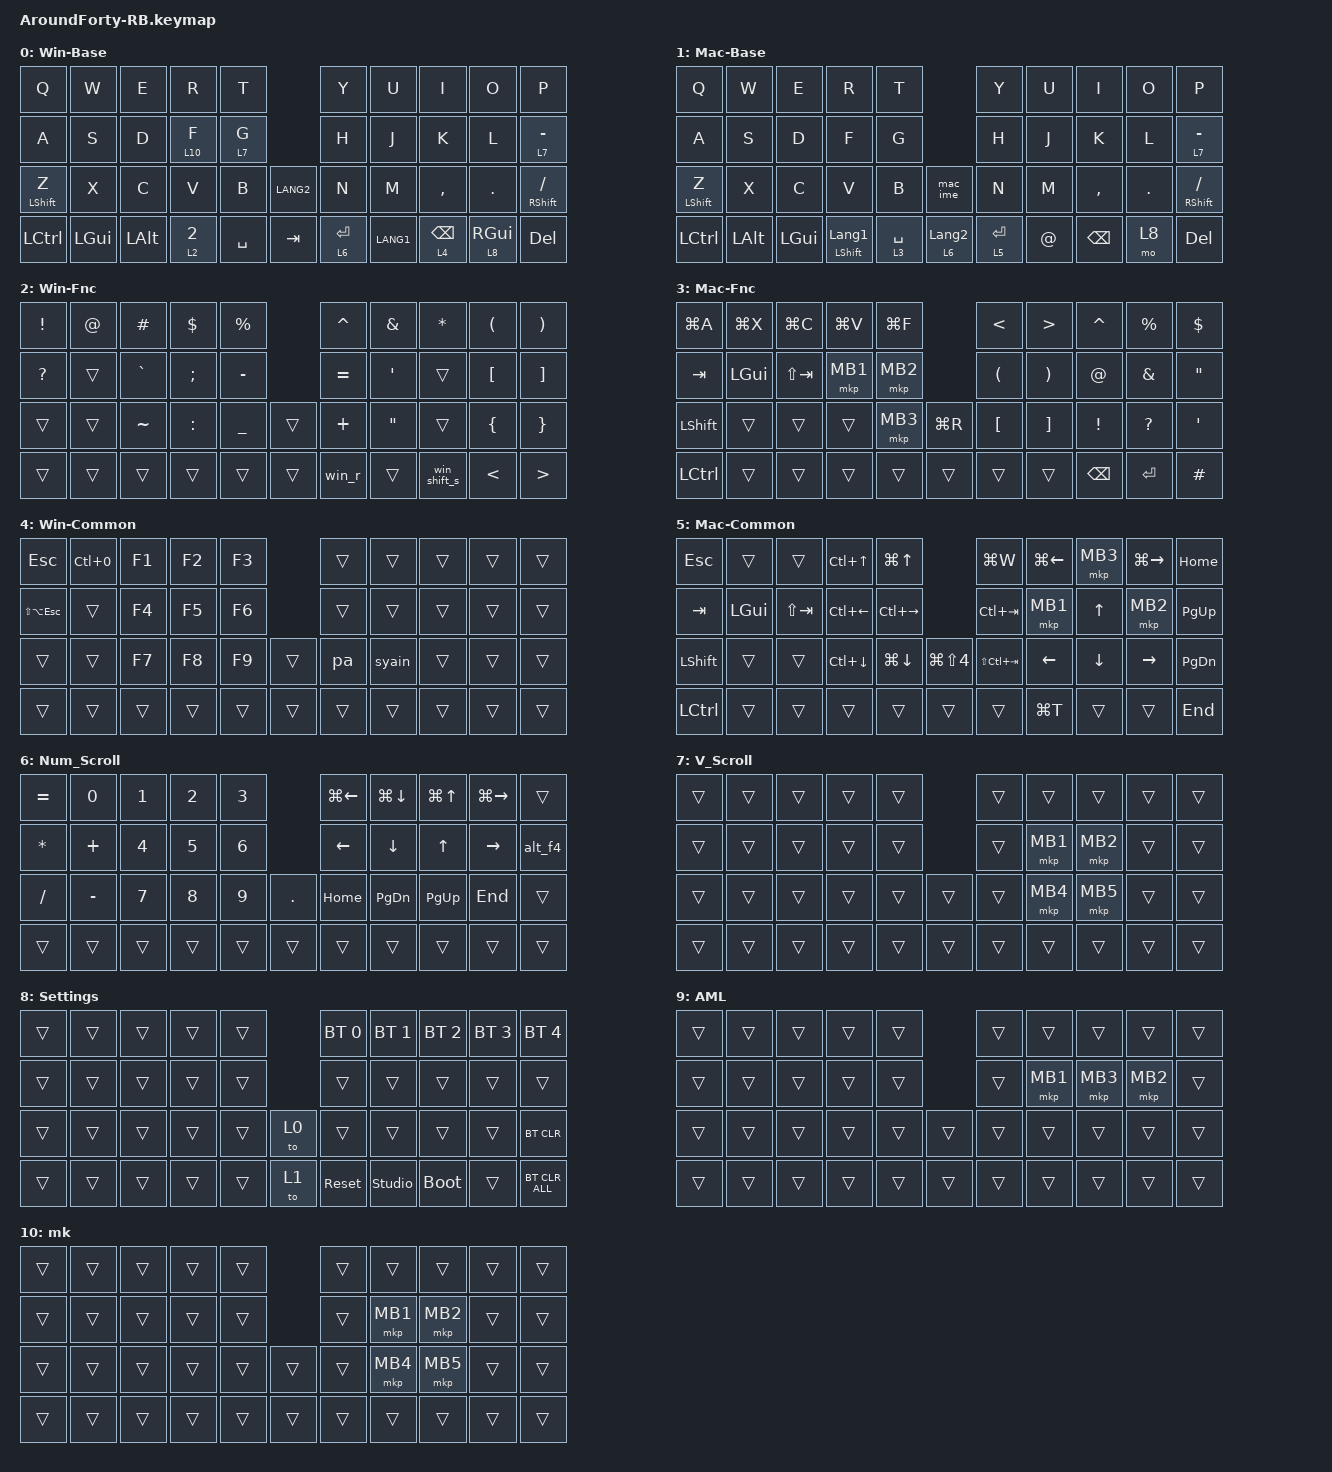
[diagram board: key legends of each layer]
#include <behaviors/rgbled_widget.dtsi>
#include <behaviors.dtsi>
#include <dt-bindings/zmk/bt.h>
#include <dt-bindings/zmk/keys.h>
#include <dt-bindings/zmk/pointing.h>

&mt {
    flavor = "balanced";
    quick-tap-ms = <0>;
};

/ {
    combos {
        compatible = "zmk,combos";

        Escape {
            bindings = <&kp ESCAPE>;
            key-positions = <0 1>;
        };
    };

    macros {
        to_layer_0: to_layer_0 {
            compatible = "zmk,behavior-macro-one-param";
            #binding-cells = <1>;
            bindings = <&to 0 &macro_param_1to1 &kp MACRO_PLACEHOLDER>;
            label = "TO_LAYER_0";
        };

        // Windows用入力切り替え：Alt + Grave (~)

        ime_tog: ime_toggle {
            compatible = "zmk,behavior-macro";
            #binding-cells = <0>;
            bindings =
                <&macro_press>,
                <&kp LALT>,
                <&macro_tap>,
                <&kp GRAVE>,
                <&macro_release>,
                <&kp LALT>;
        };

        // macOS用入力切り替え：Ctrl + Space

        mac_ime: mac_ime_toggle {
            compatible = "zmk,behavior-macro";
            #binding-cells = <0>;
            bindings =
                <&macro_press>,
                <&kp LCTRL>,
                <&macro_tap>,
                <&kp SPACE>,
                <&macro_release>,
                <&kp LCTRL>;
        };

        win_r: win_r {
            compatible = "zmk,behavior-macro";
            #binding-cells = <0>;
            bindings =
                <&macro_press>,
                <&kp LEFT_WIN>,
                <&macro_tap>,
                <&kp R>,
                <&macro_release>,
                <&kp LEFT_WIN>;

            label = "WIN_R";
        };

        win_shift_s: win_shift_s {
            compatible = "zmk,behavior-macro";
            #binding-cells = <0>;
            bindings =
                <&macro_press>,
                <&kp LEFT_WIN &kp LEFT_SHIFT>,
                <&macro_tap>,
                <&kp S>,
                <&macro_release>,
                <&kp LEFT_SHIFT &kp LEFT_WIN>;

            label = "WIN_SHIFT_S";
        };

        alt_f4: alt_f4 {
            compatible = "zmk,behavior-macro";
            #binding-cells = <0>;
            bindings =
                <&macro_press>,
                <&kp LEFT_ALT>,
                <&macro_tap>,
                <&kp F4>,
                <&macro_release>,
                <&kp LEFT_ALT>;

            label = "ALT_F4";
        };

        pa: pa {
            compatible = "zmk,behavior-macro";
            #binding-cells = <0>;
            bindings = <&kp LS(P) &kp LS(A) &kp N6 &kp N0 &kp N4 &kp N2 &kp N6 &kp N1>;
            label = "PA";
        };

        syain: syain {
            compatible = "zmk,behavior-macro";
            #binding-cells = <0>;
            bindings = <&kp N0 &kp N1 &kp N1 &kp N4 &kp N3 &kp N7 &kp N8 &kp N0>;
            label = "SYAIN";
        };
    };

    behaviors {
        lt_to_layer_0: lt_to_layer_0 {
            compatible = "zmk,behavior-hold-tap";
            label = "LAYER_TAP_TO_0";
            bindings = <&mo>, <&to_layer_0>;

            #binding-cells = <2>;
            tapping-term-ms = <200>;
        };

        // 

        scroll_up_down: behavior_sensor_rotate_mouse_wheel_up_down {
            compatible = "zmk,behavior-sensor-rotate";
            #sensor-binding-cells = <0>;
            bindings = <&msc SCRL_UP>, <&msc SCRL_DOWN>;

            tap-ms = <20>;
        };
    };

    keymap {
        compatible = "zmk,keymap";

        Win-Base {
            display-name = "Win-Base";
            bindings = <
&kp Q             &kp W     &kp E     &kp R           &kp T                 &kp Y        &kp U      &kp I            &kp O            &kp P
&kp A             &kp S     &kp D     &lt 10 F        &lt 7 G               &kp H        &kp J      &kp K            &kp L            &lt 7 MINUS
&mt LEFT_SHIFT Z  &kp X     &kp C     &kp V           &kp B      &kp LANG2  &kp N        &kp M      &kp COMMA        &kp DOT          &mt RIGHT_SHIFT SLASH
&kp LCTRL         &kp LGUI  &kp LALT  &lt 2 NUMBER_2  &kp SPACE  &kp TAB    &lt 6 ENTER  &kp LANG1  &lt 4 BACKSPACE  &lt 8 RIGHT_GUI  &kp DEL
            >;
        };

        Mac-Base {
            display-name = "Mac-Base";
            bindings = <
&kp Q             &kp W         &kp E         &kp R                 &kp T                          &kp Y        &kp U        &kp I          &kp O    &kp P
&kp A             &kp S         &kp D         &kp F                 &kp G                          &kp H        &kp J        &kp K          &kp L    &lt 7 MINUS
&mt LEFT_SHIFT Z  &kp X         &kp C         &kp V                 &kp B        &mac_ime          &kp N        &kp M        &kp COMMA      &kp DOT  &mt RIGHT_SHIFT SLASH
&kp LCTRL         &kp LEFT_ALT  &kp LEFT_GUI  &mt LSHFT LANGUAGE_1  &lt 3 SPACE  &lt 6 LANGUAGE_2  &lt 5 ENTER  &kp AT_SIGN  &kp BACKSPACE  &mo 8    &kp DEL
            >;
        };

        Win-Fnc {
            display-name = "Win-Fnc";
            bindings = <
&kp EXCLAMATION  &kp AT_SIGN  &kp HASH   &kp DOLLAR     &kp PERCENT             &kp CARET  &kp AMPERSAND      &kp ASTERISK  &kp LEFT_PARENTHESIS  &kp RIGHT_PARENTHESIS
&kp QUESTION     &trans       &kp GRAVE  &kp SEMICOLON  &kp MINUS               &kp EQUAL  &kp SINGLE_QUOTE   &trans        &kp LEFT_BRACKET      &kp RIGHT_BRACKET
&trans           &trans       &kp TILDE  &kp COLON      &kp UNDERSCORE  &trans  &kp PLUS   &kp DOUBLE_QUOTES  &trans        &kp LEFT_BRACE        &kp RIGHT_BRACE
&trans           &trans       &trans     &trans         &trans          &trans  &win_r     &trans             &win_shift_s  &kp LESS_THAN         &kp GREATER_THAN
            >;
        };

        Mac-Fnc {
            display-name = "Mac-Fnc";
            bindings = <
&kp LG(A)       &kp LG(X)     &kp LG(C)    &kp LG(V)  &kp LG(F)             &kp LESS_THAN         &kp GREATER_THAN       &kp CARET        &kp PERCENT    &kp DOLLAR
&kp TAB         &kp LEFT_GUI  &kp LS(TAB)  &mkp MB1   &mkp MB2              &kp LEFT_PARENTHESIS  &kp RIGHT_PARENTHESIS  &kp AT_SIGN      &kp AMPERSAND  &kp DOUBLE_QUOTES
&kp LEFT_SHIFT  &trans        &trans       &trans     &mkp MB3   &kp LG(R)  &kp LEFT_BRACKET      &kp RIGHT_BRACKET      &kp EXCLAMATION  &kp QUESTION   &kp SINGLE_QUOTE
&kp LCTRL       &trans        &trans       &trans     &trans     &trans     &trans                &trans                 &kp BACKSPACE    &kp ENTER      &kp HASH
            >;
        };

        Win-Common {
            display-name = "Win-Common";
            bindings = <
&kp ESC             &kp LC(NUMBER_0)  &kp F1  &kp F2  &kp F3          &trans  &trans  &trans  &trans  &trans
&kp LS(LA(ESCAPE))  &trans            &kp F4  &kp F5  &kp F6          &trans  &trans  &trans  &trans  &trans
&trans              &trans            &kp F7  &kp F8  &kp F9  &trans  &pa     &syain  &trans  &trans  &trans
&trans              &trans            &trans  &trans  &trans  &trans  &trans  &trans  &trans  &trans  &trans
            >;
        };

        Mac-Common {
            display-name = "Mac-Common";
            bindings = <
&kp ESC    &trans        &trans       &kp LC(UP_ARROW)    &kp LG(UP_ARROW)                           &kp LG(W)        &kp LG(LEFT_ARROW)  &mkp MB3        &kp LG(RIGHT_ARROW)  &kp HOME
&kp TAB    &kp LEFT_GUI  &kp LS(TAB)  &kp LC(LEFT_ARROW)  &kp LC(RIGHT_ARROW)                        &kp LC(TAB)      &mkp MB1            &kp UP_ARROW    &mkp MB2             &kp PAGE_UP
&kp LSHFT  &trans        &trans       &kp LC(DOWN_ARROW)  &kp LG(DOWN_ARROW)   &kp LG(LS(NUMBER_4))  &kp LS(LC(TAB))  &kp LEFT_ARROW      &kp DOWN_ARROW  &kp RIGHT_ARROW      &kp PAGE_DOWN
&kp LCTRL  &trans        &trans       &trans              &trans               &trans                &trans           &kp LG(T)           &trans          &trans               &kp END
            >;
        };

        Num_Scroll {
            bindings = <
&kp EQUAL     &kp NUMBER_0  &kp NUMBER_1  &kp NUMBER_2  &kp NUMBER_3              &kp LG(LEFT)  &kp LG(DOWN)   &kp LG(UP)    &kp LG(RIGHT)  &trans
&kp ASTERISK  &kp PLUS      &kp NUMBER_4  &kp N5        &kp NUMBER_6              &kp LEFT      &kp DOWN       &kp UP_ARROW  &kp RIGHT      &alt_f4
&kp SLASH     &kp MINUS     &kp NUMBER_7  &kp NUMBER_8  &kp NUMBER_9  &kp PERIOD  &kp HOME      &kp PAGE_DOWN  &kp PAGE_UP   &kp END        &trans
&trans        &trans        &trans        &trans        &trans        &trans      &trans        &trans         &trans        &trans         &trans
            >;
        };

        V_Scroll {
            bindings = <
&trans  &trans  &trans  &trans  &trans          &trans  &trans    &trans    &trans  &trans
&trans  &trans  &trans  &trans  &trans          &trans  &mkp MB1  &mkp MB2  &trans  &trans
&trans  &trans  &trans  &trans  &trans  &trans  &trans  &mkp MB4  &mkp MB5  &trans  &trans
&trans  &trans  &trans  &trans  &trans  &trans  &trans  &trans    &trans    &trans  &trans
            >;
        };

        Settings {
            display-name = "Settings";
            bindings = <
&trans  &trans  &trans  &trans  &trans         &bt BT_SEL 0  &bt BT_SEL 1    &bt BT_SEL 2  &bt BT_SEL 3  &bt BT_SEL 4
&trans  &trans  &trans  &trans  &trans         &trans        &trans          &trans        &trans        &trans
&trans  &trans  &trans  &trans  &trans  &to 0  &trans        &trans          &trans        &trans        &bt BT_CLR
&trans  &trans  &trans  &trans  &trans  &to 1  &sys_reset    &studio_unlock  &bootloader   &trans        &bt BT_CLR_ALL
            >;
        };

        AML {
            display-name = "AML";
            bindings = <
&trans  &trans  &trans  &trans  &trans          &trans  &trans    &trans    &trans    &trans
&trans  &trans  &trans  &trans  &trans          &trans  &mkp MB1  &mkp MB3  &mkp MB2  &trans
&trans  &trans  &trans  &trans  &trans  &trans  &trans  &trans    &trans    &trans    &trans
&trans  &trans  &trans  &trans  &trans  &trans  &trans  &trans    &trans    &trans    &trans
            >;
        };

        mk {
            bindings = <
&trans  &trans  &trans  &trans  &trans          &trans  &trans    &trans    &trans  &trans
&trans  &trans  &trans  &trans  &trans          &trans  &mkp MB1  &mkp MB2  &trans  &trans
&trans  &trans  &trans  &trans  &trans  &trans  &trans  &mkp MB4  &mkp MB5  &trans  &trans
&trans  &trans  &trans  &trans  &trans  &trans  &trans  &trans    &trans    &trans  &trans
            >;
        };
    };
};
